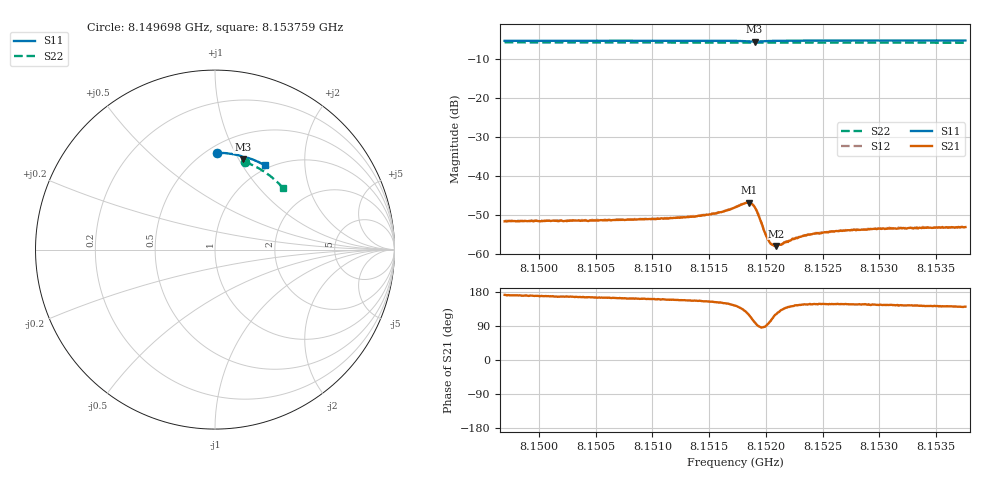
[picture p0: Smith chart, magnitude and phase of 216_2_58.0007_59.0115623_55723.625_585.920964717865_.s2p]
#  HZ  S  RI  R  50.00
! Rohde & Schwarz Vector Network Analyzer
! Rohde-Schwarz,ZNB20-2Port,1311601062101988,3.16
! Created: UTC 3/21/2024, 12:59:57 AM
! freq[Hz]  re:S11  im:S11  re:S21  im:S21  re:S12  im:S12  re:S22  im:S22
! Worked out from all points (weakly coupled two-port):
!   401 points, 8.149698 GHz to 8.153759 GHz, reference 50 ohm
!   highest |S21| = -46.79 dB at 8.15185 GHz (marker M1); lowest = -57.9 dB at 8.152094 GHz (marker M2)
!   lowest |S11| = -5.6 dB at 8.151901 GHz (marker M3), VSWR 3.23, Z = 37.3 + j52.1 ohm
!   |S11| at or under -10 dB: nowhere
!   |S22| runs from -5.8 to -5.7 dB; largest |S21 - S12| = 0.00012
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8.149698e9  0.00912 0.5395  -0.0026 0.000373  -0.00265 0.000459  0.1671 0.488
8.1503782e9  0.0569 0.5379  -0.0026 0.000671  -0.00265 0.000703  0.208 0.4712
8.1510584e9  0.1046 0.5315  -0.00267 0.000947  -0.00267 0.000988  0.2468 0.4512
8.1513021e9  0.1217 0.5281  -0.00274 0.00115  -0.00276 0.00119  0.2605 0.4432
8.1514747e9  0.1343 0.525  -0.00289 0.00136  -0.00288 0.00141  0.27 0.4372
8.1516067e9  0.1443 0.5219  -0.00303 0.00164  -0.00301 0.00176  0.2768 0.4325
8.1517285e9  0.1539 0.5168  -0.00319 0.00235  -0.0032 0.0024  0.2834 0.428
8.1518097e9  0.1591 0.5104  -0.0029 0.00339  -0.00289 0.00346  0.2877 0.4248
8.1518503e9  0.1592 0.506  -0.00225 0.00398  -0.00222 0.00406  0.2896 0.4232
8.1518808e9  0.1569 0.504  -0.00131 0.00415  -0.00126 0.00419  0.291 0.4222
8.1519011e9  0.1552 0.5039  -0.000697 0.00398  -0.000631 0.00402  0.2919 0.4214
8.1519315e9  0.1533 0.5059  1.57e-06 0.00326  5.76e-05 0.00332  0.2935 0.4205
8.1519823e9  0.155 0.5107  0.000102 0.00202  0.000156 0.00207  0.2962 0.4187
8.1520026e9  0.1566 0.512  -1.06e-05 0.00173  7.02e-06 0.00176  0.2972 0.418
8.1520229e9  0.1585 0.5129  -0.000166 0.00151  -0.000156 0.0015  0.2983 0.4174
8.1520534e9  0.1614 0.5136  -0.000409 0.00126  -0.000386 0.00128  0.2999 0.4161
8.152094e9  0.1653 0.514  -0.000659 0.00108  -0.000675 0.00112  0.3021 0.4146
8.1522869e9  0.1811 0.5114  -0.00133 0.000935  -0.00134 0.000965  0.3119 0.4071
8.1524087e9  0.19 0.5089  -0.00152 0.000982  -0.00154 0.000988  0.3181 0.4022
8.1526422e9  0.206 0.5033  -0.00166 0.00106  -0.00167 0.00108  0.3294 0.3925
8.1530889e9  0.2353 0.4913  -0.00174 0.00121  -0.00179 0.00126  0.3503 0.373
8.153759e9  0.2769 0.4704  -0.00172 0.00141  -0.00173 0.00145  0.3795 0.3421
